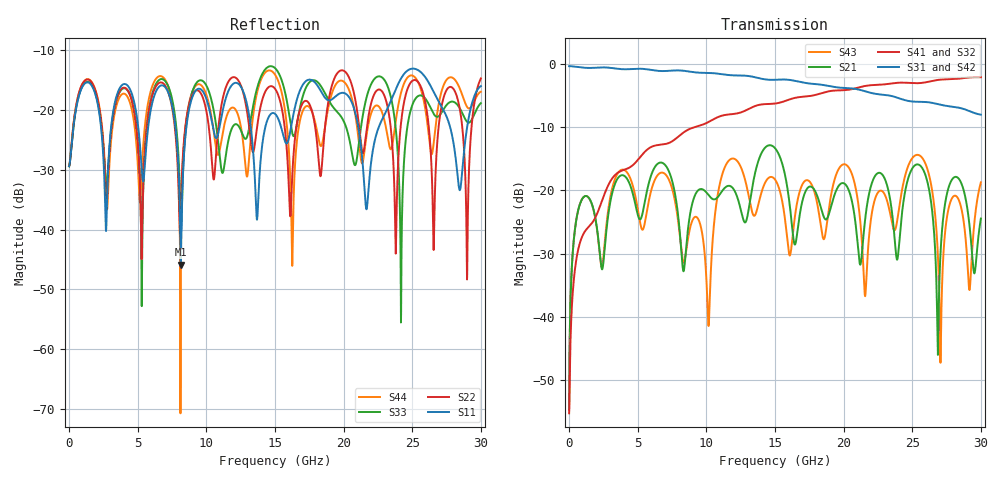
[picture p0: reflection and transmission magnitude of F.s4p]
!diffpair-meanders F (U-bend, one broad trombone next to the bend), mesh medium
!ports 1 P_near 2 N_near 3 P_far 4 N_far; openEMS FDTD, lumped 50 ohm ports
# Hz S RI R 50.0
! Port[1] = P_near
! Port[2] = N_near
! Port[3] = P_far
! Port[4] = N_far
!freq ReS11 ImS11 ReS12 ImS12 ReS13 ImS13
! ReS14 ImS14
! ReS21 ImS21 ReS22 ImS22 ReS23 ImS23
! ReS24 ImS24
! ReS31 ImS31 ReS32 ImS32 ReS33 ImS33
! ReS34 ImS34
! ReS41 ImS41 ReS42 ImS42 ReS43 ImS43
! ReS44 ImS44
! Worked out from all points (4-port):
!   3000 points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, 10 MHz to 30 GHz, reference 50 ohm
!   strongest paths, dB at 10 MHz, 7.51 GHz, 15.01 GHz, 22.51 GHz, 30 GHz:
!     S31: -0.4, -1.1, -2.6, -4.8, -8.1
!     S42: -0.4, -1.1, -2.7, -4.9, -8.4
!     S41: -55.2, -12.3, -6.3, -3.4, -2.2
!     S32: -55.2, -12.3, -6.5, -3.5, -2.1
!     S21: -54.6, -18.5, -13.4, -17.3, -24.5
!     S43: -54.6, -19.7, -18.3, -20.3, -18.8
!   lowest |S11| = -45.8 dB at 8.14 GHz (marker M1), VSWR 1.01, Z = 50.5 - j0.0593 ohm
!   |S11| at or under -10 dB: start of sweep to end of sweep
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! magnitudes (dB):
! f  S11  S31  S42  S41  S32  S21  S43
! 10 MHz  -29.4  -0.4  -0.4  -55.2  -55.2  -54.6  -54.6
! 1.05 GHz  -15.8  -0.6  -0.7  -26.9  -26.9  -21.1  -21.1
! 8.14 GHz  -45.8  -1.1  -1.1  -11.2  -11.2  -28.4  -28.5
! 9.36 GHz  -16.5  -1.4  -1.4  -9.9  -9.9  -20.1  -24.4
! 16.27 GHz  -21.7  -2.6  -2.7  -5.5  -5.5  -26.2  -27.6
! 28.99 GHz  -23.0  -7.4  -7.5  -2.2  -2.1  -22.6  -30.5
! 30 GHz  -16.0  -8.1  -8.4  -2.2  -2.1  -24.5  -18.8
